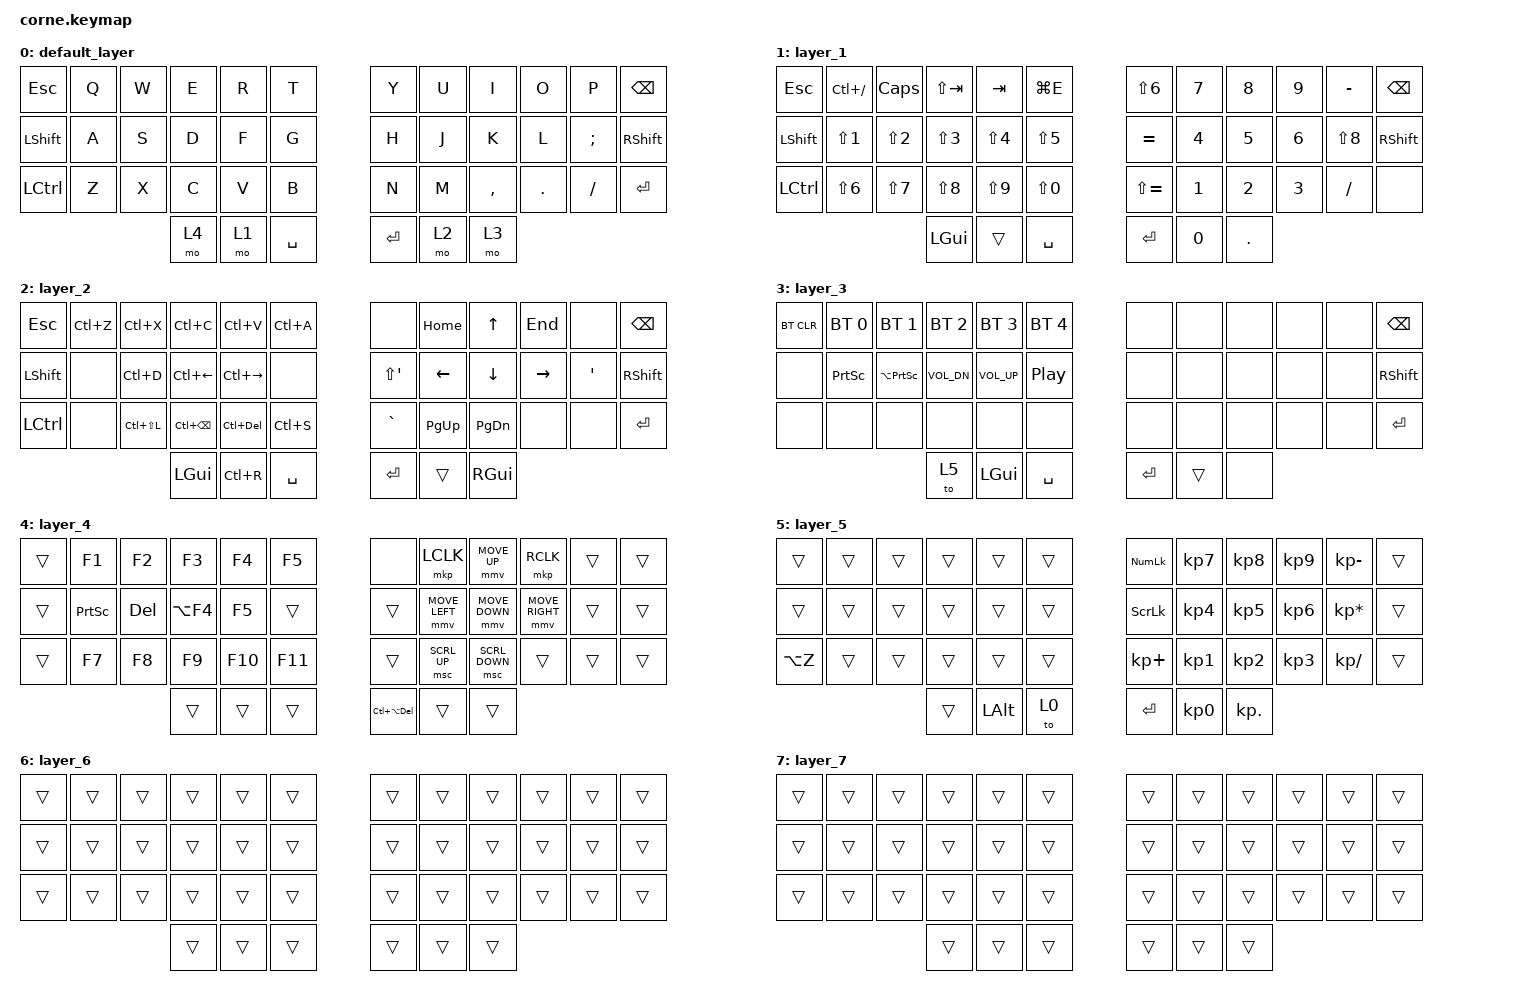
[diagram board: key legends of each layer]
/*
 * Converted from RobbyWCorne.json (Vial/QMK) to ZMK for a 42-key Corne.
 * Notes:
 * - The top 3 rows are mapped directly.
 * - The extra 4 thumb keys from the 46-key layout were dropped.
 * - This keeps the center 3 thumb keys per half.
 */

#include <behaviors.dtsi>
#include <dt-bindings/zmk/keys.h>
#include <dt-bindings/zmk/bt.h>
#include <dt-bindings/zmk/pointing.h>

/ {
    keymap {
        compatible = "zmk,keymap";

        default_layer {
            bindings = <
                &kp ESC     &kp Q           &kp W           &kp E           &kp R           &kp T           &kp Y           &kp U           &kp I           &kp O           &kp P           &kp BSPC
                &kp LSHFT   &kp A           &kp S           &kp D           &kp F           &kp G           &kp H           &kp J           &kp K           &kp L           &kp SEMI        &kp RSHFT
                &kp LCTRL   &kp Z           &kp X           &kp C           &kp V           &kp B           &kp N           &kp M           &kp COMMA       &kp DOT         &kp FSLH        &kp ENTER
                                                &mo 4          &mo 1          &kp SPACE       &kp ENTER       &mo 2           &mo 3
            >;
        };

        layer_1 {
            bindings = <
                &kp ESC     &kp LC(FSLH)    &kp CAPS        &kp LS(TAB)     &kp TAB         &kp LG(E)           &kp LS(N6)      &kp N7          &kp N8          &kp N9          &kp MINUS       &kp BSPC
                &kp LSHFT   &kp LS(N1)      &kp LS(N2)      &kp LS(N3)      &kp LS(N4)      &kp LS(N5)      &kp EQUAL       &kp N4          &kp N5          &kp N6          &kp LS(N8)      &kp RSHFT
                &kp LCTRL   &kp LS(N6)      &kp LS(N7)      &kp LS(N8)      &kp LS(N9)      &kp LS(N0)      &kp LS(EQUAL)   &kp N1          &kp N2          &kp N3          &kp FSLH        &none
                                                &kp LGUI       &trans          &kp SPACE       &kp ENTER       &kp N0          &kp DOT
            >;
        };

        layer_2 {
            bindings = <
                &kp ESC     &kp LC(Z)       &kp LC(X)       &kp LC(C)       &kp LC(V)       &kp LC(A)       &none           &kp HOME        &kp UP          &kp END         &none           &kp BSPC
                &kp LSHFT   &none           &kp LC(D)       &kp LC(LEFT)    &kp LC(RIGHT)   &none           &kp LS(SQT)     &kp LEFT        &kp DOWN        &kp RIGHT       &kp SQT         &kp RSHFT
                &kp LCTRL   &none           &kp LC(LS(L))   &kp LC(BSPC)    &kp LC(DEL)     &kp LC(S)       &kp GRAVE       &kp PG_UP       &kp PG_DN       &none           &none           &kp ENTER
                                                &kp LGUI       &kp LC(R)       &kp SPACE       &kp ENTER       &trans          &kp RGUI
            >;
        };

        layer_3 {
            bindings = <
                &bt BT_CLR &bt BT_SEL 0 &bt BT_SEL 1 &bt BT_SEL 2 &bt BT_SEL 3 &bt BT_SEL 4           &none           &none           &none           &none           &none           &kp BSPC
                &none       &kp PSCRN       &kp LA(PSCRN)   &kp C_VOL_DN    &kp C_VOL_UP    &kp C_PP        &none           &none           &none           &none           &none           &kp RSHFT
                &none       &none           &none           &none           &none           &none           &none           &none           &none           &none           &none           &kp ENTER
                                                &to 5          &kp LGUI        &kp SPACE       &kp ENTER       &trans          &none
            >;
        };

        layer_4 {
            bindings = <
                &trans      &kp F1          &kp F2          &kp F3          &kp F4          &kp F5          &none           &mkp LCLK       &mmv MOVE_UP    &mkp RCLK       &trans          &trans
                &trans      &kp PSCRN       &kp DEL         &kp LA(F4)      &kp F5          &trans          &trans          &mmv MOVE_LEFT  &mmv MOVE_DOWN  &mmv MOVE_RIGHT &trans          &trans
                &trans      &kp F7          &kp F8          &kp F9          &kp F10         &kp F11         &trans          &msc SCRL_UP    &msc SCRL_DOWN  &trans          &trans          &trans
                                                &trans         &trans          &trans          &kp LC(LA(DEL)) &trans          &trans
            >;
        };

        layer_5 {
            bindings = <
                &trans      &trans          &trans          &trans          &trans          &trans          &kp KP_NUM      &kp KP_N7       &kp KP_N8       &kp KP_N9       &kp KP_MINUS    &trans
                &trans      &trans          &trans          &trans          &trans          &trans          &kp SLCK        &kp KP_N4       &kp KP_N5       &kp KP_N6       &kp KP_MULTIPLY &trans
                &kp LA(Z)      &trans          &trans          &trans          &trans          &trans          &kp KP_PLUS     &kp KP_N1       &kp KP_N2       &kp KP_N3       &kp KP_SLASH    &trans
                                                &trans         &kp LALT        &to 0           &kp ENTER       &kp KP_N0       &kp KP_DOT
            >;
        };

        layer_6 {
            bindings = <
                &trans      &trans          &trans          &trans          &trans          &trans          &trans          &trans          &trans          &trans          &trans          &trans
                &trans      &trans          &trans          &trans          &trans          &trans          &trans          &trans          &trans          &trans          &trans          &trans
                &trans      &trans          &trans          &trans          &trans          &trans          &trans          &trans          &trans          &trans          &trans          &trans
                                                &trans         &trans          &trans          &trans          &trans          &trans
            >;
        };

        layer_7 {
            bindings = <
                &trans      &trans          &trans          &trans          &trans          &trans          &trans          &trans          &trans          &trans          &trans          &trans
                &trans      &trans          &trans          &trans          &trans          &trans          &trans          &trans          &trans          &trans          &trans          &trans
                &trans      &trans          &trans          &trans          &trans          &trans          &trans          &trans          &trans          &trans          &trans          &trans
                                                &trans         &trans          &trans          &trans          &trans          &trans
            >;
        };
    };

    combos {
        compatible = "zmk,combos";

        combo_lparen {
            timeout-ms = <50>;
            key-positions = <15 16>;
            bindings = <&kp LS(N9)>;
        };

        combo_rparen {
            timeout-ms = <50>;
            key-positions = <19 20>;
            bindings = <&kp LS(N0)>;
        };

        combo_lbracket {
            timeout-ms = <50>;
            key-positions = <3 4>;
            bindings = <&kp LBKT>;
        };

        combo_rbracket {
            timeout-ms = <50>;
            key-positions = <7 8>;
            bindings = <&kp RBKT>;
        };

        combo_lbrace {
            timeout-ms = <50>;
            key-positions = <27 28>;
            bindings = <&kp LBRC>;
        };

        combo_rbrace {
            timeout-ms = <50>;
            key-positions = <31 32>;
            bindings = <&kp RBRC>;
        };

        combo_dquote {
            timeout-ms = <50>;
            key-positions = <2 3>;
            bindings = <&kp DQT>;
        };

        combo_underscore {
            timeout-ms = <50>;
            key-positions = <14 15>;
            bindings = <&kp UNDER>;
        };

        combo_quote {
            timeout-ms = <50>;
            key-positions = <8 9>;
            bindings = <&kp SQT>;
        };

        combo_minus {
            timeout-ms = <50>;
            key-positions = <20 21>;
            bindings = <&kp MINUS>;
        };

        combo_slash {
            timeout-ms = <50>;
            key-positions = <26 27>;
            bindings = <&kp FSLH>;
        };

        combo_backslash {
            timeout-ms = <50>;
            key-positions = <32 33>;
            bindings = <&kp BSLH>;
        };
    };
};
